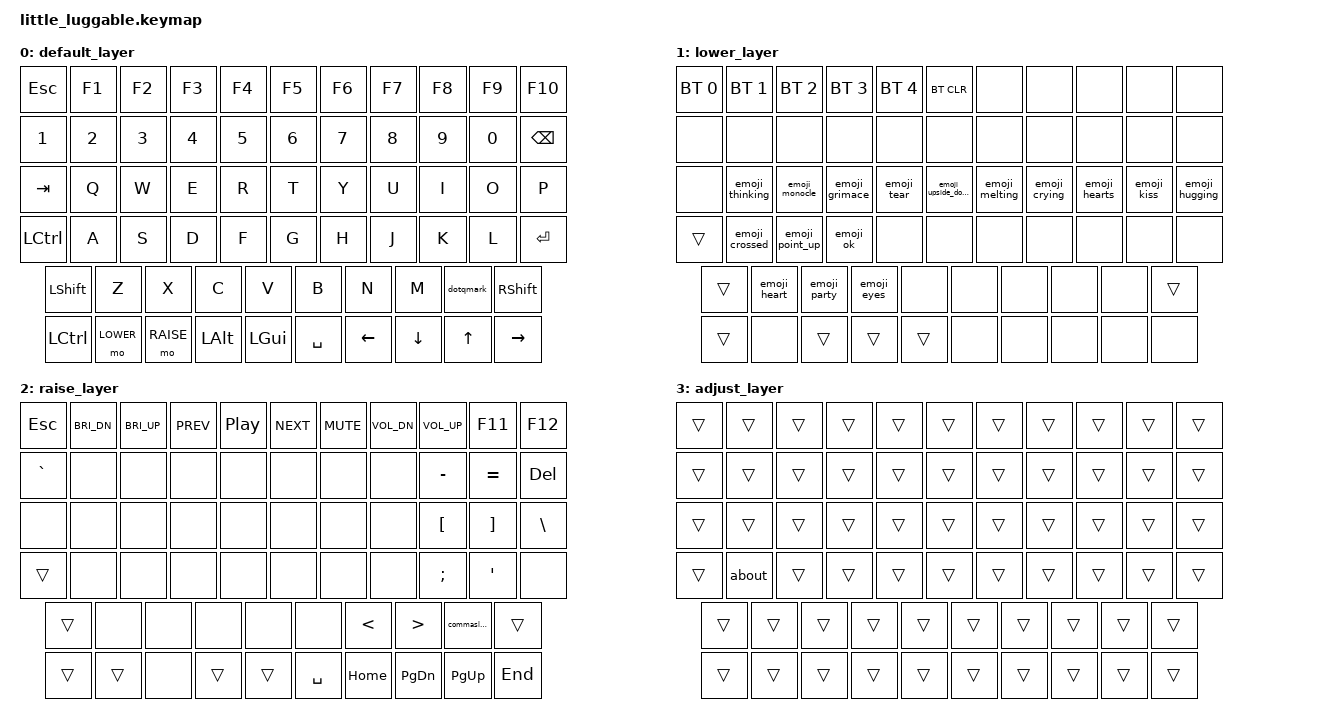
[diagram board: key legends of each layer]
#include <behaviors.dtsi>
#include <dt-bindings/zmk/bt.h>
#include <dt-bindings/zmk/keys.h>

// The &about macro types the firmware identity (device name, version, and
// build number). version.dtsi is not checked in; it is generated at build
// time by scripts/generate-about-macro.sh (run it once before building
// locally).
#include "version.dtsi"

#define LOWER 1
#define RAISE 2
#define ADJUST 3

// Types a Unicode codepoint by driving the host's hex entry: Ctrl+Shift+U, the
// codepoint's hex digits, then Enter. Understood by IBus / GTK apps (inline hex
// entry) and by kitty (via its unicode_input kitten). Pass the hex digits as
// &kp behaviors, e.g. UNICODE(&kp N1 &kp F &kp N9 &kp N1 &kp N4) for U+1F914.
// The wait after Ctrl+Shift+U gives kitty's kitten time to open before the
// digits are typed; increase it if the first digits get dropped.
#define UNICODE(...) \
    <&macro_wait_time 300>, \
    <&macro_tap &kp LC(LS(U))>, \
    <&macro_wait_time 15>, \
    <&macro_tap __VA_ARGS__ &kp ENTER>

// As UNICODE(), but for emoji made of two codepoints (e.g. a base character
// plus the U+FE0F emoji variation selector), entered as two sequences.
#define UNICODE2(cp1, cp2) \
    <&macro_wait_time 300>, \
    <&macro_tap &kp LC(LS(U))>, \
    <&macro_wait_time 15>, \
    <&macro_tap cp1 &kp ENTER>, \
    <&macro_wait_time 300>, \
    <&macro_tap &kp LC(LS(U))>, \
    <&macro_wait_time 15>, \
    <&macro_tap cp2 &kp ENTER>

/ {

    behaviors {

        dotqmark: dot_question {
            compatible = "zmk,behavior-mod-morph";
            label = "DOT_QUESTION";
            #binding-cells = <0>;
            bindings = <&kp DOT>, <&kp QUESTION>;
            mods = <(MOD_LSFT|MOD_RSFT)>;
        };

        commaslash: comma_slash {
            compatible = "zmk,behavior-mod-morph";
            label = "COMMA_SLASH";
            #binding-cells = <0>;
            bindings = <&kp COMMA>, <&kp SLASH>;
            mods = <(MOD_LSFT|MOD_RSFT)>;
        };

    };

    // Each macro types an emoji via the host's Unicode hex entry using the
    // UNICODE() / UNICODE2() helpers above. Bound on the lower layer.
    macros {

        emoji_thinking: emoji_thinking {
            compatible = "zmk,behavior-macro";
            #binding-cells = <0>;
            bindings = UNICODE(&kp N1 &kp F &kp N9 &kp N1 &kp N4);        // 🤔 U+1F914
        };

        emoji_monocle: emoji_monocle {
            compatible = "zmk,behavior-macro";
            #binding-cells = <0>;
            bindings = UNICODE(&kp N1 &kp F &kp N9 &kp D &kp N0);         // 🧐 U+1F9D0
        };

        emoji_grimace: emoji_grimace {
            compatible = "zmk,behavior-macro";
            #binding-cells = <0>;
            bindings = UNICODE(&kp N1 &kp F &kp N6 &kp N2 &kp C);         // 😬 U+1F62C
        };

        emoji_tear: emoji_tear {
            compatible = "zmk,behavior-macro";
            #binding-cells = <0>;
            bindings = UNICODE(&kp N1 &kp F &kp N9 &kp N7 &kp N2);        // 🥲 U+1F972
        };

        emoji_upside_down: emoji_upside_down {
            compatible = "zmk,behavior-macro";
            #binding-cells = <0>;
            bindings = UNICODE(&kp N1 &kp F &kp N6 &kp N4 &kp N3);        // 🙃 U+1F643
        };

        emoji_melting: emoji_melting {
            compatible = "zmk,behavior-macro";
            #binding-cells = <0>;
            bindings = UNICODE(&kp N1 &kp F &kp A &kp E &kp N0);          // 🫠 U+1FAE0
        };

        emoji_crying: emoji_crying {
            compatible = "zmk,behavior-macro";
            #binding-cells = <0>;
            bindings = UNICODE(&kp N1 &kp F &kp N6 &kp N2 &kp D);         // 😭 U+1F62D
        };

        emoji_hearts: emoji_hearts {
            compatible = "zmk,behavior-macro";
            #binding-cells = <0>;
            bindings = UNICODE(&kp N1 &kp F &kp N9 &kp N7 &kp N0);        // 🥰 U+1F970
        };

        emoji_kiss: emoji_kiss {
            compatible = "zmk,behavior-macro";
            #binding-cells = <0>;
            bindings = UNICODE(&kp N1 &kp F &kp N6 &kp N1 &kp N8);        // 😘 U+1F618
        };

        emoji_hugging: emoji_hugging {
            compatible = "zmk,behavior-macro";
            #binding-cells = <0>;
            bindings = UNICODE(&kp N1 &kp F &kp N9 &kp N1 &kp N7);        // 🤗 U+1F917
        };

        emoji_crossed: emoji_crossed {
            compatible = "zmk,behavior-macro";
            #binding-cells = <0>;
            bindings = UNICODE(&kp N1 &kp F &kp N9 &kp N1 &kp E);         // 🤞 U+1F91E
        };

        emoji_point_up: emoji_point_up {
            compatible = "zmk,behavior-macro";
            #binding-cells = <0>;
            bindings = UNICODE(&kp N1 &kp F &kp N4 &kp N4 &kp N6);        // 👆 U+1F446
        };

        emoji_ok: emoji_ok {
            compatible = "zmk,behavior-macro";
            #binding-cells = <0>;
            bindings = UNICODE(&kp N1 &kp F &kp N4 &kp N4 &kp C);         // 👌 U+1F44C
        };

        emoji_heart: emoji_heart {
            compatible = "zmk,behavior-macro";
            #binding-cells = <0>;
            bindings = UNICODE2(&kp N2 &kp N7 &kp N6 &kp N4, &kp F &kp E &kp N0 &kp F);  // ❤️ U+2764 U+FE0F
        };

        emoji_party: emoji_party {
            compatible = "zmk,behavior-macro";
            #binding-cells = <0>;
            bindings = UNICODE(&kp N1 &kp F &kp N3 &kp N8 &kp N9);        // 🎉 U+1F389
        };

        emoji_eyes: emoji_eyes {
            compatible = "zmk,behavior-macro";
            #binding-cells = <0>;
            bindings = UNICODE(&kp N1 &kp F &kp N4 &kp N4 &kp N0);        // 👀 U+1F440
        };

    };

    // Holding both the Lower and Raise thumb keys reveals the hidden adjust
    // layer, which is where the &about macro lives (Raise + Lower + A). This
    // keeps it out of the way during normal typing.
    //
    // For this to work each layer key must be &trans (not &none) on the other
    // layer, so holding one and pressing the other still falls through to the
    // base layer's &mo and activates both layers at once. The modifier
    // positions are &trans on the secondary and tertiary layers for the same
    // reason: so they inherit the base layer's modifiers everywhere.
    conditional_layers {
        compatible = "zmk,conditional-layers";

        adjust {
            if-layers = <LOWER RAISE>;
            then-layer = <ADJUST>;
        };

    };

    keymap {
        compatible = "zmk,keymap";

        default_layer {

            bindings = <
                &kp ESC   &kp F1    &kp F2    &kp F3    &kp F4    &kp F5    &kp F6    &kp F7    &kp F8    &kp F9    &kp F10
                  &kp N1    &kp N2    &kp N3    &kp N4    &kp N5    &kp N6    &kp N7    &kp N8    &kp N9    &kp N0    &kp BSPC
                &kp TAB   &kp Q     &kp W     &kp E     &kp R     &kp T     &kp Y     &kp U     &kp I     &kp O     &kp P
                  &kp LCTRL &kp A     &kp S     &kp D     &kp F     &kp G     &kp H     &kp J     &kp K     &kp L     &kp RET
                    &kp LSHFT &kp Z    &kp X    &kp C    &kp V    &kp B    &kp N    &kp M    &dotqmark  &kp RSHFT
                &kp LCTRL   &mo LOWER   &mo RAISE   &kp LALT    &kp LGUI    &kp SPACE   &kp LEFT    &kp DOWN    &kp UP      &kp RIGHT
            >;

        };

        lower_layer {

            bindings = <
                &bt BT_SEL 0    &bt BT_SEL 1     &bt BT_SEL 2    &bt BT_SEL 3    &bt BT_SEL 4    &bt BT_CLR    &none    &none    &none    &none    &none
                  &none    &none     &none    &none    &none    &none    &none    &none    &none    &none    &none
                &none    &emoji_thinking    &emoji_monocle    &emoji_grimace    &emoji_tear    &emoji_upside_down    &emoji_melting    &emoji_crying    &emoji_hearts    &emoji_kiss    &emoji_hugging
                  &trans   &emoji_crossed    &emoji_point_up    &emoji_ok    &none    &none    &none    &none    &none    &none    &none
                    &trans   &emoji_heart    &emoji_party    &emoji_eyes    &none    &none    &none    &none    &none    &trans
                &trans   &none     &trans    &trans    &trans    &none    &none    &none    &none    &none
            >;

        };

        raise_layer {

            bindings = <
                &kp ESC    &kp C_BRI_DN    &kp C_BRI_UP    &kp C_PREV    &kp C_PP    &kp C_NEXT    &kp C_MUTE    &kp C_VOL_DN    &kp C_VOL_UP    &kp F11    &kp F12
                  &kp GRAVE    &none     &none    &none    &none    &none    &none    &none    &kp MINUS    &kp EQUAL    &kp DEL
                &none    &none    &none    &none    &none    &none    &none    &none    &kp LBKT    &kp RBKT    &kp BSLH
                  &trans   &none     &none    &none    &none    &none    &none    &none    &kp SEMI    &kp APOS    &none
                    &trans     &none     &none    &none    &none    &none    &kp LT    &kp GT    &commaslash    &trans
                &trans   &trans    &none    &trans    &trans    &kp SPACE    &kp HOME    &kp PG_DN    &kp PG_UP    &kp END
            >;

        };

        adjust_layer {

            bindings = <
                &trans    &trans    &trans    &trans    &trans    &trans    &trans    &trans    &trans    &trans    &trans
                  &trans    &trans    &trans    &trans    &trans    &trans    &trans    &trans    &trans    &trans    &trans
                &trans    &trans    &trans    &trans    &trans    &trans    &trans    &trans    &trans    &trans    &trans
                  &trans    &about    &trans    &trans    &trans    &trans    &trans    &trans    &trans    &trans    &trans
                    &trans    &trans    &trans    &trans    &trans    &trans    &trans    &trans    &trans    &trans
                &trans    &trans    &trans    &trans    &trans    &trans    &trans    &trans    &trans    &trans
            >;

        };

    };
};
